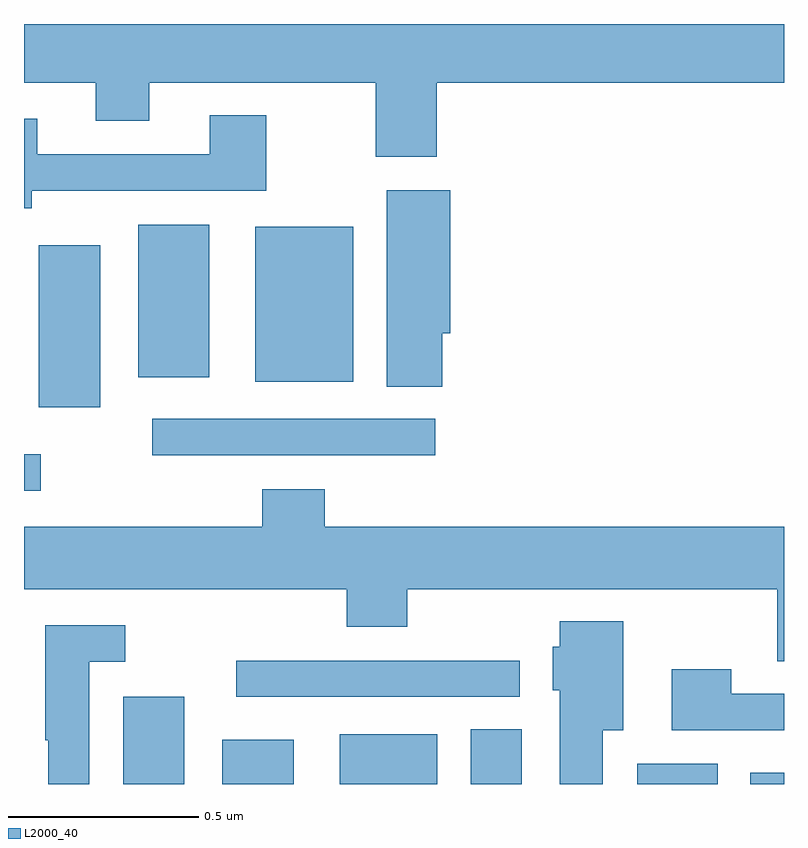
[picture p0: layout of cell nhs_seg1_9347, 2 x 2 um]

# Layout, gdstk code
import gdstk
lib = gdstk.Library(unit=1e-6, precision=1e-09)
def R(c, l, rs):  # rectangles x0, y0, x1, y1
    for r in rs: c.add(gdstk.rectangle(r[:2], r[2:], *l))
def P(c, l, *ps):  # polygons
    for p in ps: c.add(gdstk.Polygon(p, *l))
L2000_40 = (2000, 40)

nhs_seg1_9347 = lib.new_cell('nhs_seg1_9347')
R(nhs_seg1_9347, L2000_40, [(227.261,571.199,227.422,571.429), (227.522,571.199,227.71,571.315), (227.831,571.199,228.088,571.33), (228.176,571.199,228.31,571.343), (228.614,571.199,228.826,571.252), (228.911,571.199,229,571.228), (227.559,571.428,228.304,571.524), (227,571.971,227.044,572.067), (227.337,572.064,228.082,572.16), (227.039,572.19,227.2,572.617), (227.609,572.258,227.866,572.665), (227.3,572.27,227.488,572.671)])
P(nhs_seg1_9347, L2000_40, [(228.086,573.044),(229,573.044),(229,573.199),(227,573.199),(227,573.044),(227.189,573.044),(227.189,572.945),(227.329,572.945),(227.329,573.044),(227.926,573.044),(227.926,572.85),(228.086,572.85)],
  [(227.02,572.76),(227.637,572.76),(227.637,572.959),(227.489,572.959),(227.489,572.856),(227.035,572.856),(227.035,572.95),(227,572.95),(227,572.714),(227.02,572.714)],
  [(228.101,572.385),(228.122,572.385),(228.122,572.761),(227.954,572.761),(227.954,572.245),(228.101,572.245)],
  [(229,571.876),(227.792,571.876),(227.792,571.975),(227.627,571.975),(227.627,571.876),(227,571.876),(227,571.712),(227.849,571.712),(227.849,571.613),(228.009,571.613),(228.009,571.712),(228.982,571.712),(228.982,571.522),(229,571.522)],
  [(228.523,571.34),(228.577,571.34),(228.577,571.627),(228.41,571.627),(228.41,571.56),(228.392,571.56),(228.392,571.446),(228.41,571.446),(228.41,571.199),(228.523,571.199)],
  [(227.172,571.521),(227.266,571.521),(227.266,571.617),(227.056,571.617),(227.056,571.314),(227.064,571.314),(227.064,571.199),(227.172,571.199)],
  [(229,571.437),(228.861,571.437),(228.861,571.501),(228.705,571.501),(228.705,571.341),(229,571.341)])

lib.write_gds('nhs_seg1_9347.gds')
